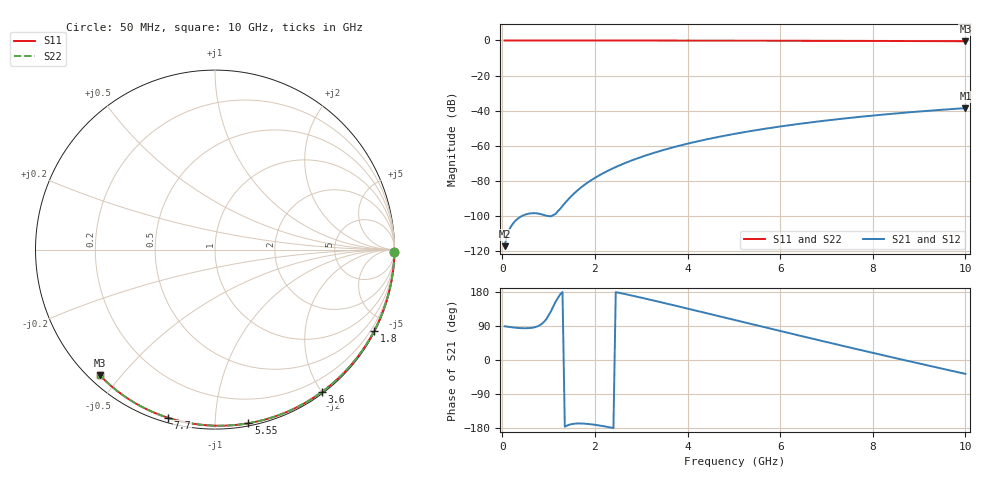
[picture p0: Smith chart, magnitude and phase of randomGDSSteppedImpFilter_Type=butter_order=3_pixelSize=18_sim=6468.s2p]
! freq	dB(S11)	phase(S11)	dB(S12)	phase(S12)
!  dB(S21)	phase(S21)	dB(S22)	phase(S22)
!S-par simulation data
#  GHz  S  DB  R 50
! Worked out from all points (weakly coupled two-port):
!   200 points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, 50 MHz to 10 GHz, reference 50 ohm
!   highest |S21| = -38.48 dB at 10 GHz (marker M1); lowest = -117.0 dB at 50 MHz (marker M2)
!   lowest |S11| = -0.4 dB at 10 GHz (marker M3), VSWR 38.87, Z = 1.54 - j22 ohm
!   |S11| at or under -10 dB: nowhere
!   |S22| runs from -0.4 to 0.0 dB; largest |S21 - S12| = 0
!   S11 on the Smith chart (normalised r, x): 50 MHz: open; 1.8 GHz: 0.04, -4.15; 3.6 GHz: 0.02, -2.01; 5.55 GHz: 0.02, -1.21; 7.7 GHz: 0.02, -0.76; 10 GHz: 0.03, -0.44
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0.05  -0.00 -0.8  -116.97 89.0  -116.97 89.0  -0.00 -0.8
0.45  -0.01 -6.9  -99.51 83.8  -99.51 83.8  -0.01 -6.9
0.9  -0.02 -13.7  -99.28 100.8  -99.28 100.8  -0.02 -13.7
1.75  -0.03 -26.3  -82.57 -167.8  -82.57 -167.8  -0.03 -26.4
1.8  -0.03 -27.1  -81.60 -168.2  -81.60 -168.2  -0.03 -27.1
1.9  -0.04 -28.6  -79.80 -169.4  -79.80 -169.4  -0.04 -28.6
2.05  -0.04 -30.8  -77.36 -171.9  -77.36 -171.9  -0.04 -30.8
2.25  -0.04 -33.7  -74.49 -176.1  -74.49 -176.1  -0.04 -33.7
2.45  -0.05 -36.6  -71.97 179.1  -71.97 179.1  -0.05 -36.6
2.65  -0.05 -39.5  -69.72 174.0  -69.72 174.0  -0.05 -39.5
3  -0.06 -44.5  -66.27 164.5  -66.27 164.5  -0.06 -44.5
3.4  -0.07 -50.2  -62.90 153.2  -62.90 153.2  -0.07 -50.2
3.6  -0.07 -53.0  -61.40 147.4  -61.40 147.4  -0.07 -53.0
4.3  -0.09 -62.6  -56.87 126.8  -56.87 126.8  -0.09 -62.6
5.05  -0.11 -72.6  -52.94 104.6  -52.94 104.6  -0.11 -72.6
5.55  -0.13 -79.1  -50.71 89.8  -50.71 89.8  -0.13 -79.1
6.1  -0.15 -86.1  -48.54 73.7  -48.54 73.7  -0.15 -86.1
6.7  -0.18 -93.6  -46.46 56.1  -46.46 56.1  -0.18 -93.6
7.7  -0.24 -105.7  -43.49 27.4  -43.49 27.4  -0.24 -105.7
8.35  -0.29 -113.4  -41.85 9.0  -41.85 9.0  -0.29 -113.4
9.15  -0.36 -122.6  -40.08 -13.3  -40.08 -13.3  -0.36 -122.6
10  -0.45 -132.4  -38.48 -36.6  -38.48 -36.6  -0.45 -132.4
